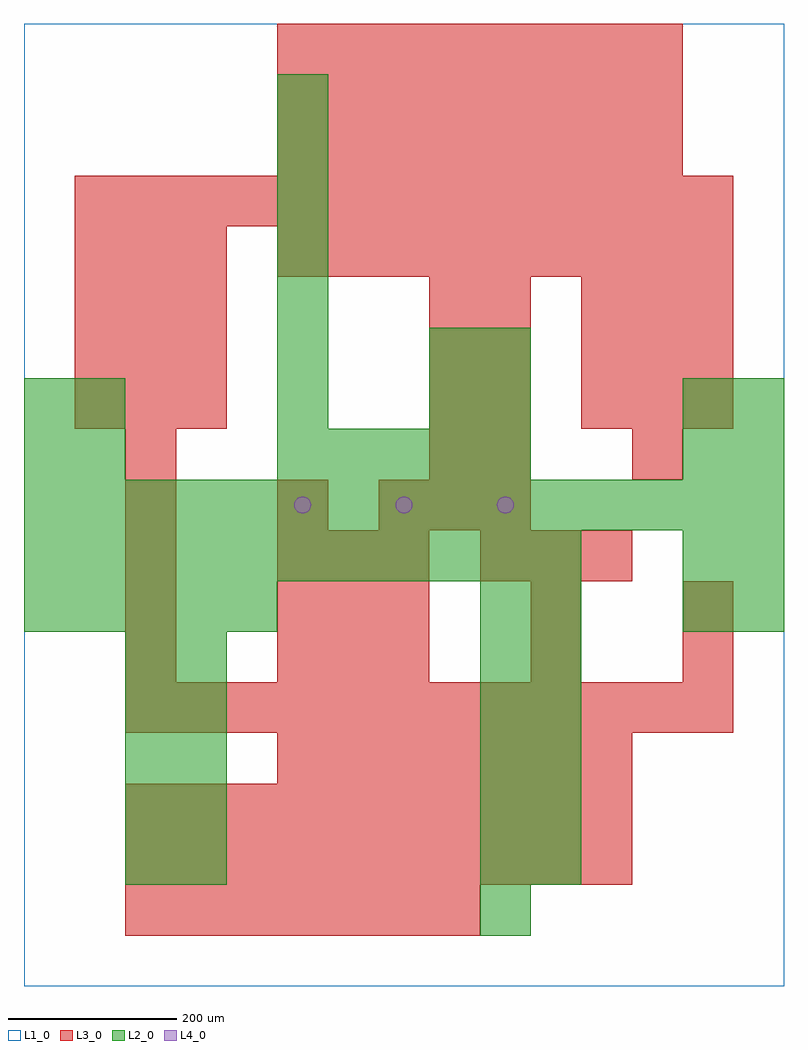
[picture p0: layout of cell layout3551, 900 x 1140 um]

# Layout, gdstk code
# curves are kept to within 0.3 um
import gdstk
lib = gdstk.Library(unit=1e-6, precision=1e-09)
def R(c, l, rs):  # rectangles x0, y0, x1, y1
    for r in rs: c.add(gdstk.rectangle(r[:2], r[2:], *l))
def A(c, l, x, y, w, h, nx, ny, dx, dy):  # array of equal rectangles
    R(c, l, [(x+i*dx, y+j*dy, x+i*dx+w, y+j*dy+h) for i in range(nx) for j in range(ny)])
def P(c, l, *ps):  # polygons
    for p in ps: c.add(gdstk.Polygon(p, *l))
L1_0 = (1, 0)
L2_0 = (2, 0)
L3_0 = (3, 0)
L4_0 = (4, 0)

layout3551 = lib.new_cell('layout3551')
R(layout3551, L1_0, [(0,0,900,1140)])
A(layout3551, L2_0, 540, 60, 60, 60, 1, 7, 0, 60)
A(layout3551, L2_0, 120, 120, 60, 60, 1, 5, 0, 60)
A(layout3551, L2_0, 180, 120, 60, 60, 1, 5, 0, 60)
A(layout3551, L2_0, 600, 120, 60, 60, 1, 6, 0, 60)
A(layout3551, L2_0, 0, 420, 60, 60, 5, 1, 60, 0)
A(layout3551, L2_0, 0, 480, 60, 60, 11, 1, 60, 0)
A(layout3551, L2_0, 0, 540, 60, 60, 15, 1, 60, 0)
A(layout3551, L2_0, 300, 600, 60, 60, 5, 1, 60, 0)
A(layout3551, L2_0, 300, 660, 60, 60, 1, 7, 0, 60)
R(layout3551, L2_0, [(780,420,840,480), (840,420,900,480), (780,480,840,540), (840,480,900,540), (0,600,60,660), (60,600,120,660), (780,600,840,660), (840,600,900,660), (0,660,60,720), (60,660,120,720), (480,660,540,720), (540,660,600,720), (780,660,840,720), (840,660,900,720), (480,720,540,780), (540,720,600,780)])
A(layout3551, L3_0, 120, 60, 60, 60, 7, 1, 60, 0)
A(layout3551, L3_0, 120, 120, 60, 60, 10, 2, 60, 60)
A(layout3551, L3_0, 300, 240, 60, 60, 7, 1, 60, 0)
A(layout3551, L3_0, 120, 300, 60, 60, 12, 1, 60, 0)
A(layout3551, L3_0, 120, 360, 60, 60, 1, 5, 0, 60)
A(layout3551, L3_0, 300, 360, 60, 60, 3, 3, 60, 60)
A(layout3551, L3_0, 540, 480, 60, 60, 3, 1, 60, 0)
A(layout3551, L3_0, 420, 540, 60, 60, 3, 1, 60, 0)
A(layout3551, L3_0, 480, 600, 60, 60, 1, 4, 0, 60)
A(layout3551, L3_0, 540, 600, 60, 60, 1, 4, 0, 60)
A(layout3551, L3_0, 60, 660, 60, 60, 3, 4, 60, 60)
A(layout3551, L3_0, 660, 660, 60, 60, 3, 3, 60, 60)
A(layout3551, L3_0, 300, 840, 60, 60, 9, 1, 60, 0)
A(layout3551, L3_0, 60, 900, 60, 60, 13, 1, 60, 0)
A(layout3551, L3_0, 300, 960, 60, 60, 8, 3, 60, 60)
R(layout3551, L3_0, [(600,360,660,420), (780,360,840,420), (600,420,660,480), (780,420,840,480), (300,540,360,600), (720,600,780,660)])
P(layout3551, L4_0, [(340,570),(339.239,573.827),(337.071,577.071),(333.827,579.239),(330,580),(326.173,579.239),(322.929,577.071),(320.761,573.827),(320,570),(320.761,566.173),(322.929,562.929),(326.173,560.761),(330,560),(333.827,560.761),(337.071,562.929),(339.239,566.173)],
  [(460,570),(459.239,573.827),(457.071,577.071),(453.827,579.239),(450,580),(446.173,579.239),(442.929,577.071),(440.761,573.827),(440,570),(440.761,566.173),(442.929,562.929),(446.173,560.761),(450,560),(453.827,560.761),(457.071,562.929),(459.239,566.173)],
  [(580,570),(579.239,573.827),(577.071,577.071),(573.827,579.239),(570,580),(566.173,579.239),(562.929,577.071),(560.761,573.827),(560,570),(560.761,566.173),(562.929,562.929),(566.173,560.761),(570,560),(573.827,560.761),(577.071,562.929),(579.239,566.173)])

lib.write_gds('layout3551.gds')
